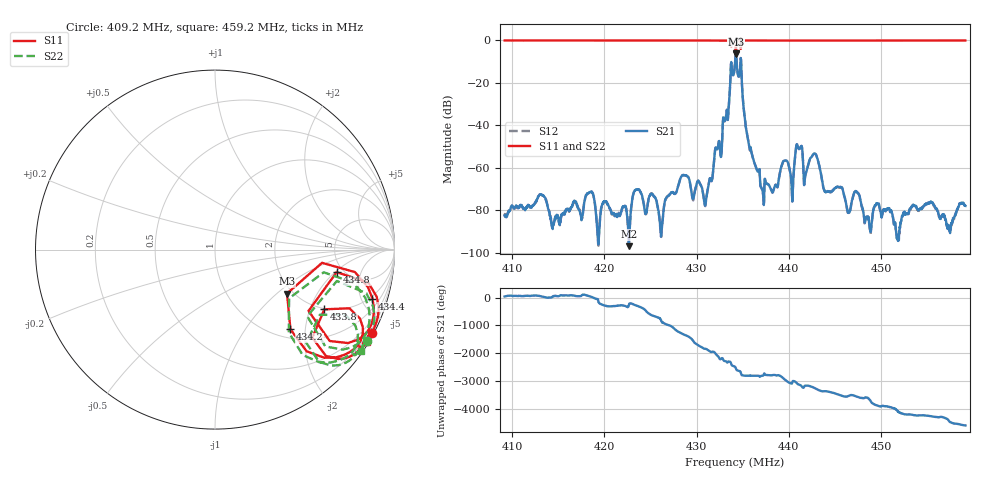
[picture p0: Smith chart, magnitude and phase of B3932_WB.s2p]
! Matrix data file written by TouchstoneData, EPCOS AG
! FILENAME: "B3932_WB.s2p"
! COMMENT: "PINNING 1/4; PORTEX 1=93PS; 2=179.5PS; 13 Ja"
! INFO: nport=2, nfreq=1601
! DATE: "Thu Jun 25 17:21:50 2009"
! USER: "Aleksander Breg"
! port | pin | signal
!  1  |  1  |  input
!  2  |  4  |  output
# MHZ S MA R 50
! freq  magS11 angS11  magS21 angS21  magS12 angS12  magS22 angS22
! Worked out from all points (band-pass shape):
!   1601 points, 409.2 MHz to 459.2 MHz, reference 50 ohm
!   highest |S21| = -6.00 dB at 434.3 MHz (marker M1); lowest = -96.9 dB at 422.7 MHz (marker M2)
!   |S21| within 3 dB of the highest: 434.1983 MHz to 434.3296 MHz (131.3 kHz wide, 0.0302 % of centre); 434.7855 MHz to 434.8151 MHz (29.55 kHz wide, 0.0068 % of centre)
!   lowest |S11| = -6.6 dB at 434.3 MHz (marker M3), VSWR 2.77, Z = 93 - j58.5 ohm
!   |S11| at or under -10 dB: nowhere
!   |S22| runs from -6.1 to -0.1 dB; largest |S21 - S12| = 0.0017
!   S11 on the Smith chart (normalised r, x): 409.2 MHz: 0.08, -4.00; 433.8 MHz: 1.97, -2.53; 434.2 MHz: 1.17, -1.67; 434.4 MHz: 1.75, -6.10; 434.8 MHz: 4.39, -2.10; 459.2 MHz: 0.07, -3.57
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409.17  0.991 -28.0  7.521e-05 46.5  7.607e-05 46.9  0.9878 -31.2
417.5138  0.9903 -28.7  5.834e-05 78.4  6.365e-05 74.2  0.9876 -31.9
422.67  0.9898 -29.2  1.431e-05 117.7  1.493e-05 132.2  0.9867 -32.4
423.5138  0.9896 -29.2  0.0003071 72.8  0.000307 73.7  0.9868 -32.5
425.8575  0.9895 -29.5  9.962e-05 7.1  9.778e-05 2.8  0.987 -32.8
428.6388  0.9885 -29.9  0.000668 108.7  0.0006682 108.3  0.9854 -33.2
430.9825  0.9892 -30.6  0.0001421 -43.5  0.0001397 -41.8  0.9861 -33.9
433.7638  0.6941 -28.6  0.3087 125.3  0.3077 125.3  0.6878 -31.8
434.17  0.8568 -44.7  0.2893 27.2  0.2885 27.3  0.8555 -47.2
434.2325  0.6118 -46.6  0.4362 -5.3  0.4351 -5.3  0.618 -48.3
434.2638  0.4701 -31.4  0.5014 -28.7  0.4998 -28.6  0.4942 -33.4
434.3888  0.9187 -17.3  0.2305 -99.3  0.2296 -99.1  0.9188 -21.0
434.8263  0.6896 -10.5  0.3399 129.9  0.3388 130.0  0.7012 -14.5
435.5763  0.9893 -26.8  0.00475 64.7  0.004727 64.8  0.9862 -30.2
437.1075  0.9893 -28.7  0.0003149 64.8  0.0003015 64.2  0.9861 -32.0
440.3575  0.9836 -29.5  0.0002207 148.4  0.0002245 148.9  0.9811 -32.8
441.0138  0.9831 -29.5  0.003042 115.9  0.003032 116.1  0.9791 -32.9
441.8263  0.9841 -29.5  0.0007048 66.0  0.0007037 65.9  0.9804 -32.9
442.5138  0.985 -29.6  0.001857 23.1  0.001845 23.3  0.9817 -32.9
446.4825  0.9891 -30.2  9.275e-05 54.5  8.786e-05 55.8  0.9853 -33.5
450.8575  0.9891 -30.5  0.0001093 24.1  0.0001162 26.0  0.9857 -33.9
459.17  0.9903 -31.3  0.0001265 69.4  0.0001243 65.0  0.9869 -34.7
